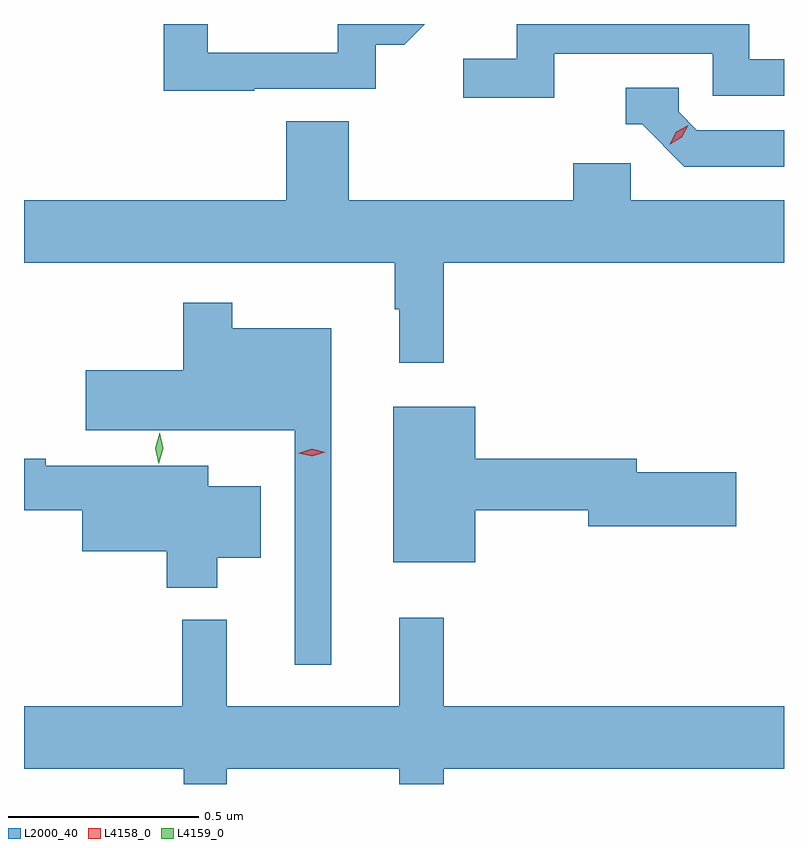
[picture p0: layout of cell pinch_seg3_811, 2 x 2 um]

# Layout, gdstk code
import gdstk
lib = gdstk.Library(unit=1e-6, precision=1e-09)
def P(c, l, *ps):  # polygons
    for p in ps: c.add(gdstk.Polygon(p, *l))
L2000_40 = (2000, 40)
L4158_0 = (4158, 0)
L4159_0 = (4159, 0)

pinch_seg3_811 = lib.new_cell('pinch_seg3_811')
P(pinch_seg3_811, L2000_40, [(875.531,722.685),(875.85,722.685),(875.85,722.802),(875.926,722.802),(875.98,722.856),(875.751,722.856),(875.751,722.781),(875.409,722.781),(875.409,722.856),(875.293,722.856),(875.293,722.68),(875.531,722.68)],
  [(876.32,722.778),(876.738,722.778),(876.738,722.667),(876.925,722.667),(876.925,722.763),(876.834,722.763),(876.834,722.856),(876.222,722.856),(876.222,722.764),(876.081,722.764),(876.081,722.662),(876.32,722.662)],
  [(876.925,722.577),(876.696,722.577),(876.648,722.625),(876.648,722.688),(876.509,722.688),(876.509,722.592),(876.552,722.592),(876.663,722.481),(876.925,722.481)],
  [(876.029,722.228),(876.925,722.228),(876.925,722.392),(876.522,722.392),(876.522,722.49),(876.371,722.49),(876.371,722.392),(875.78,722.392),(875.78,722.6),(875.615,722.6),(875.615,722.392),(874.925,722.392),(874.925,722.228),(875.901,722.228),(875.901,722.105),(875.912,722.105),(875.912,721.965),(876.029,721.965)],
  [(875.734,722.056),(875.473,722.056),(875.473,722.122),(875.344,722.122),(875.344,721.945),(875.088,721.945),(875.088,721.787),(875.637,721.787),(875.637,721.17),(875.734,721.17)],
  [(876.112,721.576),(876.41,721.576),(876.41,721.534),(876.799,721.534),(876.799,721.676),(876.538,721.676),(876.538,721.712),(876.112,721.712),(876.112,721.849),(875.897,721.849),(875.897,721.439),(876.112,721.439)],
  [(875.434,721.451),(875.548,721.451),(875.548,721.639),(875.41,721.639),(875.41,721.693),(874.982,721.693),(874.982,721.712),(874.925,721.712),(874.925,721.576),(875.078,721.576),(875.078,721.469),(875.3,721.469),(875.3,721.373),(875.434,721.373)],
  [(875.459,720.896),(875.912,720.896),(875.912,720.856),(876.029,720.856),(876.029,720.896),(876.925,720.896),(876.925,721.06),(876.029,721.06),(876.029,721.294),(875.912,721.294),(875.912,721.06),(875.459,721.06),(875.459,721.288),(875.341,721.288),(875.341,721.06),(874.925,721.06),(874.925,720.896),(875.346,720.896),(875.346,720.856),(875.459,720.856)])
P(pinch_seg3_811, L4158_0, [(875.683,721.718),(875.647,721.726),(875.647,721.726),(875.647,721.727),(875.682,721.738),(875.718,721.729),(875.718,721.729),(875.718,721.729)],
  [(876.624,722.539),(876.624,722.54),(876.642,722.572),(876.673,722.59),(876.673,722.59),(876.673,722.59),(876.656,722.558),(876.625,722.539)])
P(pinch_seg3_811, L4159_0, [(875.28,721.699),(875.28,721.699),(875.271,721.74),(875.282,721.781),(875.282,721.781),(875.282,721.781),(875.291,721.74),(875.28,721.699)])

lib.write_gds('pinch_seg3_811.gds')
